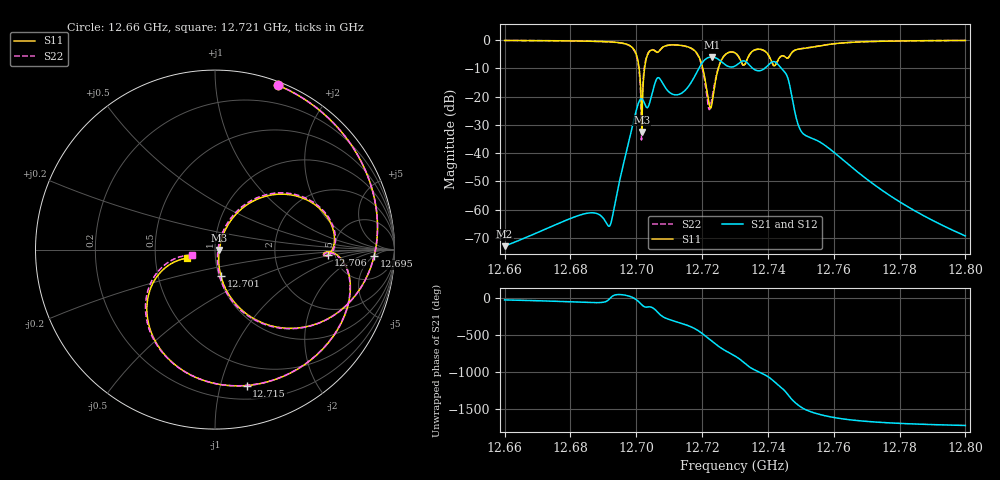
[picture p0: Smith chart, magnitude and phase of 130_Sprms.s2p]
! TOUCHSTONE file generated by CST MICROWAVE STUDIO
! Date and time: Wed Jul 31 17:22:06 2024
! Project name: WaveGuide_BPF-Ver4.1_U-shape_Ku_T3_C4_CWA_2.cst
! Parameters = {cavity_h=16; cavity_l0=10; cavity_l1=15.1932; cavity_l2=16.8266; cavity_l3=17.1368; cavity_l4=17.2857; cavity_l5=17.1257; cavity_l6=17.623; cavity_r=2.5; cavity_screw_l=0.5; cavity_screw_r=1.5; cavity_w=8; iris_h00=0; iris_h01=8.8338; iris_h112=0; iris_h12=5.5968; iris_h211=3.668; ir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
! Header version: 2018
! Port assignment regex: !\s*Touchstone port\s*([0-9]+)\s*=\s*(CST MWS port|CST DS port)\s*([0-9]+|Zmin|Zmax)\s*\(\"(.*)\"\)(\s*mode\s*([0-9]+))?.*
! Touchstone port assignment:
! Touchstone port 1 = CST MWS port 1 ("")
! Touchstone port 2 = CST MWS port 2 ("")
# GHz S RI R 50
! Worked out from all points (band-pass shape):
!   5001 points, 12.66 GHz to 12.8 GHz, reference 50 ohm
!   highest |S21| = -6.03 dB at 12.723 GHz (marker M1); lowest = -72.9 dB at 12.66 GHz (marker M2)
!   |S21| within 3 dB of the highest: 12.7195 GHz to 12.7274 GHz (7.892 MHz wide, 0.062 % of centre); 12.73028 GHz to 12.73451 GHz (4.233 MHz wide, 0.0332 % of centre) (the widest 2 of 3)
!   lowest |S11| = -32.5 dB at 12.702 GHz (marker M3), VSWR 1.05, Z = 52.4 - j0.278 ohm
!   |S11| at or under -10 dB: 12.70087 GHz to 12.70252 GHz (1.651 MHz wide, 0.013 % of centre); 12.72019 GHz to 12.72495 GHz (4.761 MHz wide, 0.0374 % of centre)
!   |S22| runs from -35.3 to -0.2 dB; largest |S21 - S12| = 1e-09
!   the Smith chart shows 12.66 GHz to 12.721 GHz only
!   S11 on the Smith chart (normalised r, x): 12.66 GHz: 0.03, +1.45; 12.695 GHz: 15, -5; 12.701 GHz: 1.02, -0.30; 12.706 GHz: 4.35, -0.42; 12.715 GHz: 0.32, -1.21; 12.721 GHz: 0.73, -0.07
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12.66  0.3502 0.9159  0.000206 -9.51e-05  0.000206 -9.51e-05  0.3537 0.9146
12.68335  0.7633 0.5772  0.000458 -0.00068  0.000458 -0.00068  0.7657 0.5738
12.69186  0.8999 0.2153  0.000503 -0.000102  0.000503 -0.000102  0.9008 0.2087
12.69531  0.8863 -0.0369  0.00277 0.00295  0.00277 0.00295  0.8838 -0.0469
12.69965  0.4438 -0.438  0.0466 -0.00863  0.0466 -0.00863  0.4141 -0.4408
12.70133  0.0322 -0.1446  0.0235 -0.0873  0.0235 -0.0873  0.0176 -0.1061
12.70169  0.0236 -0.00265  -0.00138 -0.0912  -0.00138 -0.0912  0.0234 0.0371
12.70584  0.6285 -0.0292  -0.1721 -0.0616  -0.1721 -0.0616  0.6317 -0.0335
12.70668  0.6126 -0.0158  -0.2038 0.0714  -0.2038 0.0714  0.6152 -0.0205
12.71491  0.1761 -0.7575  0.1298 0.00374  0.1298 0.00374  0.1607 -0.7578
12.72118  -0.1546 -0.0477  -0.4357 -0.1609  -0.4357 -0.1609  -0.1301 -0.0307
12.72292  0.0153 -0.0689  -0.3754 0.3297  -0.3754 0.3297  0.0344 -0.0789
12.72619  0.0977 -0.465  0.3343 0.2162  0.3343 0.2162  0.0852 -0.4717
12.73  -0.4619 -0.3705  0.1579 -0.3081  0.1579 -0.3081  -0.4709 -0.3561
12.73319  -0.3134 -0.2331  -0.4112 -0.0715  -0.4112 -0.0715  -0.3123 -0.2236
12.7368  -0.6858 0.00712  -0.00566 0.2867  -0.00566 0.2867  -0.6831 0.026
12.74252  -0.3006 0.2374  0.1248 -0.3776  0.1248 -0.3776  -0.289 0.2436
12.74803  0.0972 0.6444  0.0468 0.036  0.0468 0.036  0.1329 0.6391
12.75335  0.7212 -0.1817  -0.00343 -0.0181  -0.00343 -0.0181  0.7168 -0.2125
12.76044  -0.0537 -0.8593  -0.00991 -0.000606  -0.00991 -0.000606  -0.0688 -0.8602
12.77668  -0.902 -0.3124  -0.000762 0.00168  -0.000762 0.00168  -0.9044 -0.3061
12.8  -0.9497 0.2426  6.54e-05 0.000338  6.54e-05 0.000338  -0.9483 0.2481
